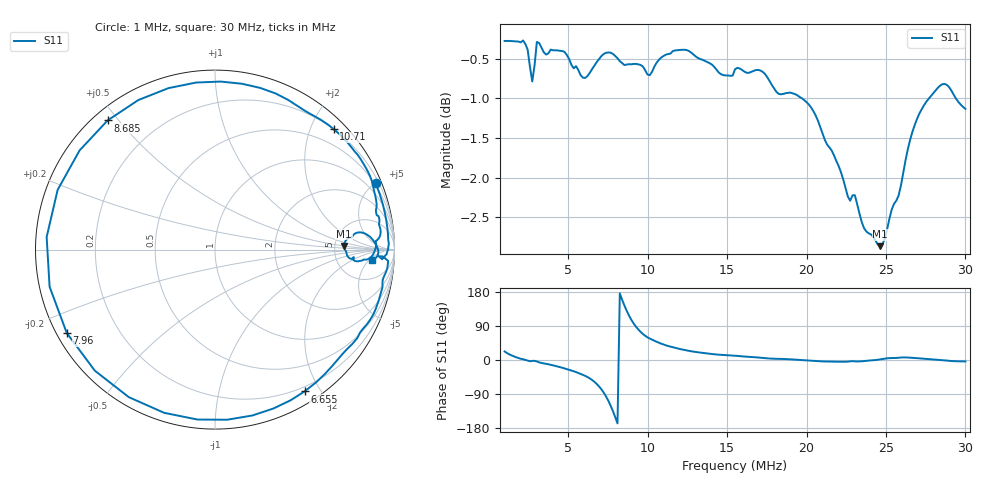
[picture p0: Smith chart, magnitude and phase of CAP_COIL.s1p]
!Keysight Technologies N9918A: A.12.56
!Date: Monday, 07 July 2025 02:55:07
!TimeZone: (UTC-08:00) Pacific Time (US & Canada)!Model: N9918A
!Serial: MY56072139
!GPS Latitude:
!GPS Longitude:
!GPS TimeStamp: 0001-01-01 00:00:00Z
!GPS Seconds Since Last Read: 0
!CHECKSUM:0806681057
!Correction: S11(Rdy)
!S1P File: Measurement: S11:
# Hz S DB R 50
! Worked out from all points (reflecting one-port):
!   201 points, 1 MHz to 30 MHz, reference 50 ohm
!   lowest |S11| = -2.9 dB at 24.64 MHz (marker M1), VSWR 6.12, Z = 304 + j25 ohm
!   phase of S11 starts at 23 deg and turns -386 deg over the sweep
!   S11 on the Smith chart (normalised r, x): 1 MHz: 0.42, +4.98; 6.655 MHz: 0.14, -1.81; 7.96 MHz: 0.03, -0.26; 8.685 MHz: 0.04, +0.47; 10.71 MHz: 0.20, +2.37; 30 MHz: 12, -6
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1000000  -0.28 22.6
2015000  -0.30 3.2
4625000  -0.41 -20.4
5930000  -0.74 -39.2
6655000  -0.59 -57.7
7090000  -0.47 -77.3
7380000  -0.43 -95.9
7670000  -0.43 -120.3
7960000  -0.47 -150.7
8105000  -0.50 -167.3
8250000  -0.53 175.7
8395000  -0.56 159.2
8685000  -0.58 129.8
8830000  -0.57 117.1
9120000  -0.57 96.5
9555000  -0.58 74.4
9990000  -0.70 59.9
1.0715e7  -0.51 45.4
1.1875e7  -0.39 30.5
1.376e7  -0.54 17.2
1.55e7  -0.64 11.6
1.9125e7  -0.94 1.4
2.101e7  -1.44 -3.8
2.275e7  -2.29 -3.5
2.4635e7  -2.86 1.6
2.6375e7  -1.64 6.5
2.8405e7  -0.84 0.2
3e7  -1.13 -3.8
